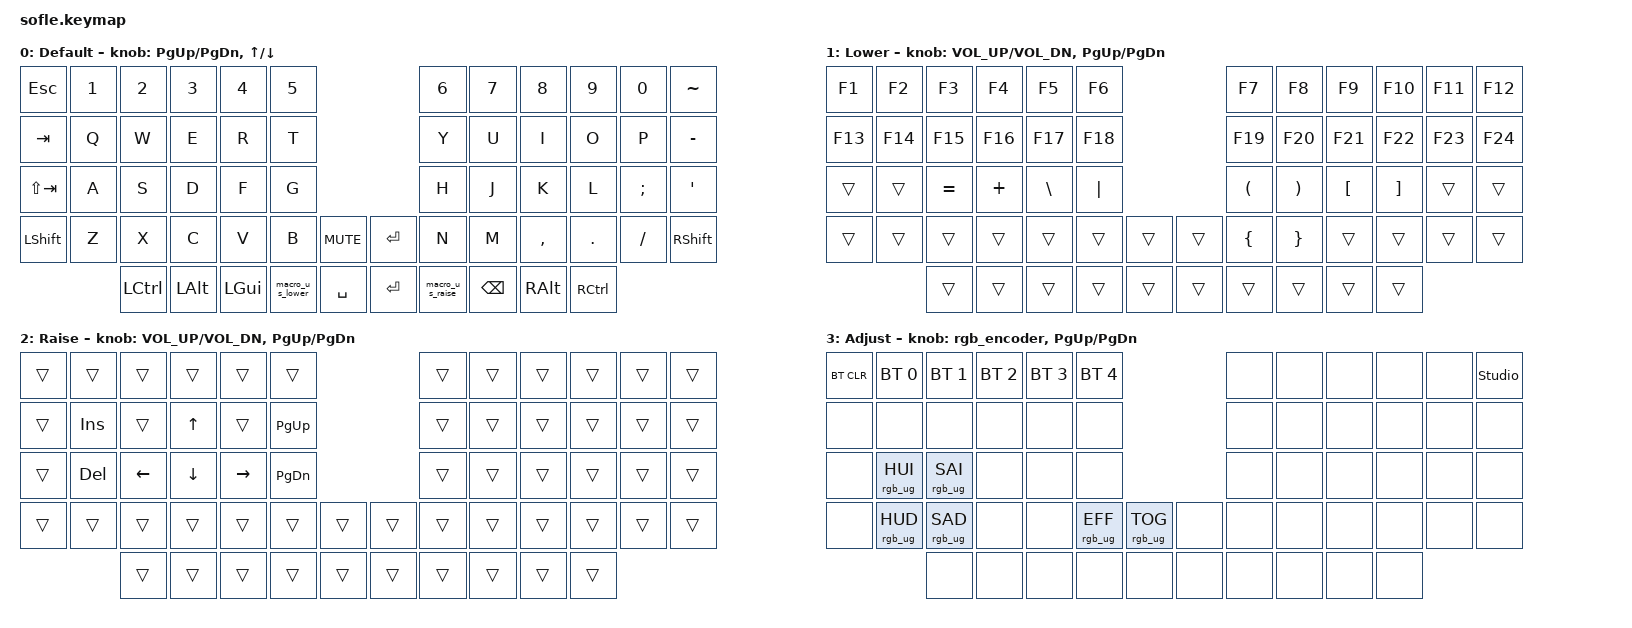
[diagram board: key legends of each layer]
/*
 * Copyright (c) 2023 The ZMK Contributors
 *
 * SPDX-License-Identifier: MIT
 */

#include <dt-bindings/led/led.h>
#include <behaviors.dtsi>
#include <dt-bindings/zmk/bt.h>
#include <dt-bindings/zmk/ext_power.h>
#include <dt-bindings/zmk/keys.h>
#include <dt-bindings/zmk/rgb.h>

#define BASE 0
#define LOWER 1
#define RAISE 2
#define ADJUST 3

/* Uncomment this block if using RGB */

&led_strip {
    // chain-length = <6>;

    // chain-length = <36>; // Uncomment if using both per-key and underglow LEDs
    chain-length = <72>;
    // chain-length = <29>; // Uncomment if using only per-key LEDs.
};

/ {
    macros {
        macro_u_s_raise: macro_underglow_switcher_raise {
            display-name = "macro_underglow_switcher_raise";
            compatible = "zmk,behavior-macro";
            wait-ms = <0>;
            tap-ms = <0>;
            #binding-cells = <0>;
            bindings =
                <&macro_press>,
                <&mo RAISE>,
                <&macro_tap>,
                <&rgb_ug RGB_COLOR_HSB(38,100,CONFIG_ZMK_RGB_UNDERGLOW_BRT_START)>,
                <&macro_pause_for_release>,
                <&macro_release>,
                <&mo RAISE>,
                <&macro_tap>,
                <&rgb_ug RGB_COLOR_HSB(265,100,CONFIG_ZMK_RGB_UNDERGLOW_BRT_START)>;
        };

        macro_u_s_lower: macro_underglow_switcher_lower {
            display-name = "macro_underglow_switcher_lower";
            compatible = "zmk,behavior-macro";
            wait-ms = <0>;
            tap-ms = <0>;
            #binding-cells = <0>;
            bindings =
                <&macro_press>,
                <&mo LOWER>,
                <&macro_tap>,
                <&rgb_ug RGB_COLOR_HSB(125,100,CONFIG_ZMK_RGB_UNDERGLOW_BRT_START)>,
                <&macro_pause_for_release>,
                <&macro_release>,
                <&mo LOWER>,
                <&macro_tap>,
                <&rgb_ug RGB_COLOR_HSB(265,100,CONFIG_ZMK_RGB_UNDERGLOW_BRT_START)>;
        };
    };

    // Activate ADJUST layer by pressing raise and lower
    conditional_layers {
        compatible = "zmk,conditional-layers";

        adjust_layer {
            if-layers = <LOWER RAISE>;
            then-layer = <ADJUST>;
        };
    };

    behaviors {
        rgb_encoder: rgb_encoder {
            compatible = "zmk,behavior-sensor-rotate";
            #sensor-binding-cells = <0>;
            bindings = <&rgb_ug RGB_BRI>, <&rgb_ug RGB_BRD>;
        };

        rot_rgb: sensor_rotate_rgb {
            compatible = "zmk,behavior-sensor-rotate-var";
            #sensor-binding-cells = <2>;
            bindings = <&rgb_ug>, <&rgb_ug>;
        };
    };

    keymap {
        compatible = "zmk,keymap";

        default_layer {
            display-name = "Default";

            // --------------------------------------------------------------------------------------------------------------
            // |  ESC  |  1  |  2   |  3   |  4  |   5   |                   |   6   |  7    |  8    |  9   |   0   | TILDE |
            // |  TAB  |  Q  |  W   |  E   |  R  |   T   |                   |   Y   |  U    |  I    |  O   |   P   | MINUS |
            // |SH(TAB)|  A  |  S   |  D   |  F  |   G   |                   |   H   |  J    |  K    |  L   |   ;   |   '   |
            // | SHIFT |  Z  |  X   |  C   |  V  |   B   |  MUTE  |  | ENTER |   N   |  M    |  ,    |  .   |   /   | SHIFT |
            // --------------| CTRL | ALT  | GUI | LOWER |  SPACE |  | ENTER | RAISE | BKSPC | ALT   | CTRL |----------------
            //               --------------------------------------------------------------------------------

            bindings = <
&kp ESC      &kp N1  &kp N2     &kp N3    &kp N4    &kp N5                                   &kp N6            &kp N7    &kp N8     &kp N9     &kp N0    &kp TILDE
&kp TAB      &kp Q   &kp W      &kp E     &kp R     &kp T                                    &kp Y             &kp U     &kp I      &kp O      &kp P     &kp MINUS
&kp LS(TAB)  &kp A   &kp S      &kp D     &kp F     &kp G                                    &kp H             &kp J     &kp K      &kp L      &kp SEMI  &kp SQT
&kp LSHFT    &kp Z   &kp X      &kp C     &kp V     &kp B             &kp C_MUTE    &kp RET  &kp N             &kp M     &kp COMMA  &kp DOT    &kp FSLH  &kp RSHFT
                     &kp LCTRL  &kp LALT  &kp LGUI  &macro_u_s_lower  &kp SPACE     &kp RET  &macro_u_s_raise  &kp BSPC  &kp RALT   &kp RCTRL
            >;

            //                 Course Scrolling        Fine Scrolling
            sensor-bindings = <&inc_dec_kp PG_UP PG_DN &inc_dec_kp UP DOWN>;
        };

        lower_layer {
            display-name = "Lower";

            // ---------------------------------------------------------------------------------------------
            // | F1  | F2  | F3  | F4  | F5  | F6  |                   | F7  | F8  | F9  | F10 | F11 | F12 |
            // | F13 | F14 | F15 | F16 | F17 | F18 |                   | F19 | F20 | F21 | F22 | F23 | F24 |
            // |     |     |  =  |  +  |  \  |  |  |                   |  (  |  )  |  [  |  ]  |     |     |
            // |     |     |     |     |     |     |        |  |       |  {  |  }  |     |     |     |     |
            // ------------|     |     |     |     |        |  |       |     |     |     |     |------------
            //             ---------------------------------------------------------------------

            bindings = <
&kp F1   &kp F2   &kp F3     &kp F4    &kp F5    &kp F6                      &kp F7    &kp F8    &kp F9    &kp F10   &kp F11  &kp F12
&kp F13  &kp F14  &kp F15    &kp F16   &kp F17   &kp F18                     &kp F19   &kp F20   &kp F21   &kp F22   &kp F23  &kp F24
&trans   &trans   &kp EQUAL  &kp PLUS  &kp BSLH  &kp PIPE                    &kp LPAR  &kp RPAR  &kp LBKT  &kp RBKT  &trans   &trans
&trans   &trans   &trans     &trans    &trans    &trans    &trans    &trans  &kp LBRC  &kp RBRC  &trans    &trans    &trans   &trans
                  &trans     &trans    &trans    &trans    &trans    &trans  &trans    &trans    &trans    &trans
            >;

            sensor-bindings = <&inc_dec_kp C_VOL_UP C_VOL_DN &inc_dec_kp PG_UP PG_DN>;
        };

        raise_layer {
            display-name = "Raise";

            // ------------------------------------------------------------------------------------------------------------
            // |       |      |      |       |       |      |                |      |      |       |      |       |       |
            // |       | INS  |      |   ^   |       | PGUP |                |      |      |       |      |       |       |
            // |       | DEL  |   <- |   v   |  ->   | PGDN |                |      |      |       |      |       |       |
            // |       |      |      |       |       |      |      |  |      |      |      |       |      |       |       |
            // ---------------|      |       |       |      |      |  |      |      |      |       |      |----------------
            //                -----------------------------------------------------------------------------

            bindings = <
&trans  &trans   &trans    &trans    &trans     &trans                       &trans  &trans  &trans  &trans  &trans  &trans
&trans  &kp INS  &trans    &kp UP    &trans     &kp PG_UP                    &trans  &trans  &trans  &trans  &trans  &trans
&trans  &kp DEL  &kp LEFT  &kp DOWN  &kp RIGHT  &kp PG_DN                    &trans  &trans  &trans  &trans  &trans  &trans
&trans  &trans   &trans    &trans    &trans     &trans     &trans    &trans  &trans  &trans  &trans  &trans  &trans  &trans
                 &trans    &trans    &trans     &trans     &trans    &trans  &trans  &trans  &trans  &trans
            >;

            sensor-bindings = <&inc_dec_kp C_VOL_UP C_VOL_DN &inc_dec_kp PG_UP PG_DN>;
        };

        adjust_layer {
            display-name = "Adjust";

            // -----------------------------------------------------------------------------------------------------------------------------
            // | BTCLR  |   BT1   |   BT2   |   BT3   |   BT4   |   BT5   |                   |      |      |       |      |       |       |
            // |        |         |         |         |         |         |                   |      |      |       |      |       |       |
            // |        | RGB_HUI |         | RGB_SAI |         |         |                   |      |      |       |      |       |       |
            // | EXTPWR | RGB_HUD |         | RGB_SAD |         | RGB_EFF | RGB_TOG |  |      |      |      |       |      |       |       |
            // -------------------|         |         |         |         |         |  |      |      |      |       |      |----------------
            //                    ------------------------------------------------------------------------------------------

            bindings = <
&bt BT_CLR         &bt BT_SEL 0     &bt BT_SEL 1     &bt BT_SEL 2  &bt BT_SEL 3  &bt BT_SEL 4                               &none  &none  &none  &none  &none  &studio_unlock
&none              &none            &none            &none         &none         &none                                      &none  &none  &none  &none  &none  &none
&none              &rgb_ug RGB_HUI  &rgb_ug RGB_SAI  &none         &none         &none                                      &none  &none  &none  &none  &none  &none
&none              &rgb_ug RGB_HUD  &rgb_ug RGB_SAD  &none         &none         &rgb_ug RGB_EFF  &rgb_ug RGB_TOG    &none  &none  &none  &none  &none  &none  &none
                                    &none            &none         &none         &none            &none              &none  &none  &none  &none  &none
            >;

            sensor-bindings = <&rgb_encoder &inc_dec_kp PG_UP PG_DN>;
            // sensor-bindings = <&rot_rgb RGB_BRI RGB_BRD &inc_dec_kp PG_UP PG_DN>;
        };
    };
};
